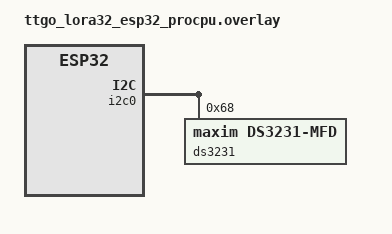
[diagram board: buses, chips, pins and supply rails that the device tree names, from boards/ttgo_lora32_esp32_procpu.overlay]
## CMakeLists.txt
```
# SPDX-FileCopyrightText: 2026 Henrique Freire <hfreire10@hotmail.com>

# SPDX-License-Identifier: MIT

cmake_minimum_required(VERSION 3.20.0)

list(APPEND EXTRA_ZEPHYR_MODULES ${CMAKE_CURRENT_LIST_DIR}/../../modules/wifi_sensing)

find_package(Zephyr REQUIRED HINTS $ENV{ZEPHYR_BASE})
project(relay)

target_sources(app PRIVATE
  src/lora.c
  src/main.c
  src/storage.c
  src/time.c
  src/wifi.c
)
target_include_directories(app PRIVATE include)
```

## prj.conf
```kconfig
# SPDX-FileCopyrightText: 2026 Henrique Freire <hfreire10@hotmail.com>

# SPDX-License-Identifier: MIT

# Debug
CONFIG_LOG=y
CONFIG_THREAD_NAME=y
CONFIG_STACK_CANARIES=y
CONFIG_STACK_SENTINEL=y

# General
CONFIG_SPI=y
CONFIG_GPIO=y
CONFIG_FLASH=y
CONFIG_EVENTS=y
CONFIG_FLASH_MAP=y
CONFIG_STREAM_FLASH=y
CONFIG_LOG_DEFAULT_LEVEL=3
CONFIG_IDLE_STACK_SIZE=256
CONFIG_MAIN_STACK_SIZE=2048
CONFIG_HEAP_MEM_POOL_SIZE=102400
CONFIG_SYSTEM_WORKQUEUE_STACK_SIZE=1676

# RTC
CONFIG_I2C=y
CONFIG_RTC=y

# Networking
CONFIG_NET_UDP=y
CONFIG_NET_IPV4=y
CONFIG_POSIX_API=y
CONFIG_NETWORKING=y
CONFIG_NET_SOCKETS=y
CONFIG_NET_TX_STACK_SIZE=4096
CONFIG_NET_RX_STACK_SIZE=4096
CONFIG_NET_SOCKETS_SERVICE_STACK_SIZE=3596

## LoRa
CONFIG_LORA=y

## DHCP
CONFIG_NET_DHCPV4_SERVER=y
CONFIG_NET_DHCPV4_SERVER_ADDR_COUNT=8
CONFIG_NET_CONFIG_SETTINGS=y
CONFIG_NET_CONFIG_AUTO_INIT=y
CONFIG_NET_CONFIG_MY_IPV4_GW="192.168.5.1"
CONFIG_NET_CONFIG_MY_IPV4_ADDR="192.168.5.1"
CONFIG_NET_CONFIG_MY_IPV4_NETMASK="255.255.255.0"

## WiFi
CONFIG_WIFI=y
CONFIG_WIFI_ESP32=y
CONFIG_NET_L2_WIFI_MGMT=y
CONFIG_ESP32_WIFI_IRAM_OPT=y
CONFIG_ESP32_WIFI_RX_IRAM_OPT=y
CONFIG_ESP32_WIFI_DYNAMIC_RX_BUFFER_NUM=48
#default value in seconds
CONFIG_WIFI_MGMT_AP_STA_INACTIVITY_TIMEOUT=300

# SD Card
CONFIG_DISK_ACCESS=y
CONFIG_FILE_SYSTEM=y
CONFIG_FS_FATFS_LFN=y
CONFIG_FAT_FILESYSTEM_ELM=y
```

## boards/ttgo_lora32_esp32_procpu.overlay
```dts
/ {
    aliases {
        rtc = &ds3231_rtc;
    };

    chosen {
        zephyr,rtc = &ds3231_rtc;
    };
};

&i2c0 {
    status = "okay";

    ds3231: ds3231@68 {
        compatible = "maxim,ds3231-mfd";
        reg = <0x68>;
        status = "okay";

        ds3231_rtc: rtc {
            compatible = "maxim,ds3231-rtc";
            status = "okay";
            alarms-count = <2>;
        };
    };
};
```

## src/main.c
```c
// SPDX-FileCopyrightText: 2026 Henrique Freire <hfreire10@hotmail.com>

// SPDX-License-Identifier: MIT

#include <zephyr/device.h>
#include <zephyr/kernel.h>
#include <zephyr/logging/log.h>
#include <zephyr/net/wifi_mgmt.h>

#include "relay.h"

#define NET_EVENTS                                                                                 \
  (NET_EVENT_WIFI_AP_ENABLE_RESULT | NET_EVENT_WIFI_AP_STA_CONNECTED |                             \
   NET_EVENT_WIFI_AP_STA_DISCONNECTED)

LOG_MODULE_REGISTER(relay);

static struct net_mgmt_event_callback s_net_cb;

K_EVENT_DEFINE(g_ap_events);

K_FIFO_DEFINE(g_lora_fifo);
K_FIFO_DEFINE(g_storage_fifo);
K_MEM_SLAB_DEFINE_TYPE(g_csi_slab, csi_item_t, (MAX_MSGS / MAX_MSG_PAYLOAD));

static void net_event_handler(struct net_mgmt_event_callback *cb, uint64_t mgmt_event,
                              struct net_if *iface) {
  switch (mgmt_event) {
  case NET_EVENT_WIFI_AP_ENABLE_RESULT: {
    k_event_post(&g_ap_events, NET_READY);
    LOG_INF("AP Mode is enabled. Waiting for station to connect");
    break;
  }
  case NET_EVENT_WIFI_AP_STA_CONNECTED: {
    LOG_INF("Station connected");
    break;
  }
  case NET_EVENT_WIFI_AP_STA_DISCONNECTED: {
    LOG_INF("Station disconnected");
    break;
  }
  }
}

int main(void) {
  LOG_INF("Starting LoRa <-> Wi-Fi gateway");

  rtc_sync();

  net_mgmt_init_event_callback(&s_net_cb, net_event_handler, NET_EVENTS);
  net_mgmt_add_event_callback(&s_net_cb);

  create_storage_thread();
  ap_init();

  return 0;
}
```

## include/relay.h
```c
// SPDX-FileCopyrightText: 2026 Henrique Freire <hfreire10@hotmail.com>
//
// SPDX-License-Identifier: MIT

#pragma once

#include <inttypes.h>

#include <zephyr/kernel.h>
#include <zephyr/sys/atomic.h>

#include <wifi_sensing.h>

#define LORA_NODE DT_ALIAS(lora0)

typedef struct {
  void *fifo_reserved;
  atomic_t refs;
  uint8_t data[MSG_HDR_SIZE + MAX_MSG_PAYLOAD * CSI_DATA_SIZE];
} csi_item_t;

extern struct k_event g_ap_events;
extern struct k_fifo g_lora_fifo;
extern struct k_fifo g_storage_fifo;
extern struct k_mem_slab g_csi_slab;

void create_storage_thread(void);
void ap_init(void);
void sd_card_init(void);
int rtc_sync(void);
uint64_t get_timestamp(void);
int get_current_utc(char *buf, size_t buf_size);
```

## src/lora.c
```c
// SPDX-FileCopyrightText: 2026 Henrique Freire <hfreire10@hotmail.com>

// SPDX-License-Identifier: MIT

#include <inttypes.h>

#include <zephyr/drivers/lora.h>
#include <zephyr/kernel.h>
#include <zephyr/logging/log.h>

#include <lora.h>
#include <wifi_sensing.h>

#include "relay.h"

#define LORA_TX_PRIORITY   4
#define LORA_TX_STACK_SIZE 1024

BUILD_ASSERT(DT_NODE_HAS_STATUS_OKAY(LORA_NODE), "No default LoRa radio specified in DT");

LOG_MODULE_DECLARE(relay);

const static struct device *s_lora_dev = DEVICE_DT_GET(LORA_NODE);

static void lora_tx_thread(void *p1, void *p2, void *p3);

K_THREAD_DEFINE(lora_tx_tid, LORA_TX_STACK_SIZE, lora_tx_thread, NULL, NULL, NULL, LORA_TX_PRIORITY,
                0, 0);

static void lora_tx_thread(void *p1 __unused, void *p2 __unused, void *p3 __unused) {
  csi_item_t *item;
  lora_data_t data = {
      .hdr =
          {
              .magic = LORA_MAGIC,
              .id    = LORA_DATA_ID,
          },
  };

  lora_init(s_lora_dev, true);

  while (true) {
    item = (csi_item_t *)k_fifo_get(&g_lora_fifo, K_FOREVER);

    const msg_t *const msg = (msg_t *)item->data;

    switch (msg->hdr.id) {
    case MSG_ID_SENSORS: {
      const sensor_data_t *const pkt = (sensor_data_t *)&msg->payload.sensor;

      memcpy((uint8_t *)&data.payload.sensor, (uint8_t *)pkt, SENSOR_DATA_SIZE);
      data.hdr.type      = MSG_ID_SENSORS;
      data.timestamp_sec = get_timestamp();

      int ret = lora_send(s_lora_dev, (uint8_t *)&data, LORA_HDR_SIZE + SENSOR_DATA_SIZE);
      if (ret < 0) {
        LOG_ERR("LoRa sensor send failed");
      }
      break;
    }
    case MSG_ID_CSI: {
      const csi_data_t *const pkt = (csi_data_t *)&msg->payload.csi;
      for (size_t i = 0; i < pkt->count; i++) {
        memcpy((uint8_t *)&data.payload.csi, (uint8_t *)&pkt->data[i], CSI_DATA_SIZE);
        data.hdr.type      = MSG_ID_CSI;
        data.timestamp_sec = get_timestamp();

        int ret = lora_send(s_lora_dev, (uint8_t *)&data, LORA_HDR_SIZE + CSI_DATA_SIZE);
        if (ret < 0) {
          LOG_ERR("LoRa CSI send failed");
        } else {
          LOG_INF("LoRa CSI sent");
        }
      }
      break;
    }
    default: {
      LOG_WRN("Unrecognized message received");
      break;
    }
    }

    if (atomic_dec(&item->refs) == 1) {
      k_mem_slab_free(&g_csi_slab, (void *)item);
    }
  }
}
```

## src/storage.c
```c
// SPDX-FileCopyrightText: 2026 Henrique Freire <hfreire10@hotmail.com>
//
// SPDX-License-Identifier: MIT

#include <zephyr/kernel.h>
#include <zephyr/logging/log.h>
#include <zephyr/storage/disk_access.h>

#include <ff.h>

#include <wifi_sensing.h>

#include "relay.h"

#define STORAGE_PRIORITY   5
#define STORAGE_STACK_SIZE 4096

#define DISK_DRIVE_NAME "SD"
#define DISK_MOUNT_PT   "/" DISK_DRIVE_NAME ":"

typedef struct {
  bool is_open;
  uint32_t key;
  struct fs_file_t file;
} file_node_t;

LOG_MODULE_DECLARE(relay);

static FATFS s_fat_fs;
static struct fs_mount_t s_mp = {
    .type      = FS_FATFS,
    .fs_data   = &s_fat_fs,
    .mnt_point = DISK_MOUNT_PT,
};

static void storage_thread(void *p1, void *p2, void *p3);

static struct k_thread s_storage_thread;

struct z_thread_stack_element __attribute__((section(".bss")))
__aligned(ARCH_THREAD_STACK_OBJ_ALIGN(ARCH_THREAD_STACK_SIZE_ADJUST((STORAGE_STACK_SIZE) +
                                                                    K_THREAD_STACK_RESERVED)))
    storage_stack[K_THREAD_STACK_LEN(STORAGE_STACK_SIZE)];

void create_storage_thread(void) {
  k_thread_create(&s_storage_thread, storage_stack, K_THREAD_STACK_SIZEOF(storage_stack),
                  storage_thread, NULL, NULL, NULL, STORAGE_PRIORITY, 0, K_NO_WAIT);
}

void sd_card_init(void) {
  static const char *disk_pdrv = DISK_DRIVE_NAME;

  if (disk_access_ioctl(disk_pdrv, DISK_IOCTL_CTRL_INIT, NULL)) {
    LOG_ERR("Failed to init " DISK_DRIVE_NAME);
    return;
  }

  if (fs_mount(&s_mp)) {
    LOG_ERR(DISK_DRIVE_NAME " mount failed");
    return;
  }

  LOG_INF(DISK_DRIVE_NAME " mounted successfully");
}

static void storage_thread(void *p1 __unused, void *p2 __unused, void *p3 __unused) {
  csi_item_t *pkt;
  // Lower half corresponds to CSI files, while the upper half corresponds to reference sensors
  file_node_t open_files[2 * MAX_DEVICES] = {};

  sd_card_init();

  while (true) {
    void *write_data;
    size_t write_size, start_idx, end_idx;
    const uint8_t (*mac_addr)[MAC_ADDR_LEN];

    pkt = k_fifo_get(&g_storage_fifo, K_FOREVER);

    const msg_t *const msg = (const msg_t *)pkt->data;
    switch (msg->hdr.id) {
    case MSG_ID_CSI: {
      start_idx  = 0;
      end_idx    = MAX_DEVICES;
      write_data = (void *)msg->payload.csi.data;
      write_size = msg->payload.csi.count * CSI_DATA_SIZE;
      mac_addr   = &msg->payload.csi.data[0].mac;
      break;
    }
    case MSG_ID_SENSORS: {
      start_idx  = MAX_DEVICES;
      end_idx    = 2 * MAX_DEVICES;
      write_data = (void *)&msg->payload.sensor;
      write_size = SENSOR_DATA_SIZE;
      mac_addr   = &msg->payload.sensor.mac;
      break;
    }
    default: {
      LOG_WRN("Unexpected message type");
      continue;
    }
    }

    uint32_t dev_key =
        (*mac_addr[2] << 24) | (*mac_addr[3] << 16) | (*mac_addr[4] << 8) | *mac_addr[5];

    int8_t free_idx   = -1;
    int8_t target_idx = -1;

    /* Search for an open file */
    for (size_t i = start_idx; i < end_idx; i++) {
      if (open_files[i].is_open && open_files[i].key == dev_key) {
        target_idx = i;
        break;
      }
      if (!open_files[i].is_open && free_idx == -1) {
        free_idx = i;
      }
    }

    /* Create new file (none open for the given device) */
    if (target_idx == -1) {
      if (free_idx != -1) {
        char file_path[40];

        /*
         * Filename for MAC address 01:23:45:67:89:AB
         *
         * CSI    file: 01-23-45-67-89-ab_csi.bin
         * Sensor file: 01-23-45-67-89-ab_sensor.bin
         *
         */
        snprintf(file_path, sizeof(file_path),
                 DISK_MOUNT_PT "/" MACSTR "%s"
                               ".bin",
                 MAC2STR(*mac_addr), free_idx < MAX_DEVICES ? "_csi" : "_sensor");

        fs_file_t_init(&open_files[free_idx].file);

        int err =
            fs_open(&open_files[free_idx].file, file_path, FS_O_CREATE | FS_O_APPEND | FS_O_WRITE);
        if (!err) {
          target_idx                   = free_idx;
          open_files[free_idx].key     = dev_key;
          open_files[free_idx].is_open = true;

          LOG_INF("Opened new file stream for " MACSTR " at index %d", MAC2STR(*mac_addr),
                  target_idx);
        } else {
          LOG_ERR("Failed to open file %s (%d)", file_path, err);
          continue;
        }
      } else {
        LOG_ERR("Max devices reached. Cannot open new file");
        continue;
      }
    }

    uint64_t time = get_timestamp();

    fs_write(&open_files[target_idx].file, &time, sizeof(time));
    fs_write(&open_files[target_idx].file, write_data, write_size);
    fs_sync(&open_files[target_idx].file);

    if (atomic_dec(&pkt->refs) == 1) {
      k_mem_slab_free(&g_csi_slab, (void *)pkt);
    }
  }
}
```

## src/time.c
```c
// SPDX-FileCopyrightText: 2026 Henrique Freire <hfreire10@hotmail.com>
//
// SPDX-License-Identifier: MIT

#include <errno.h>
#include <time.h>

#include <zephyr/device.h>
#include <zephyr/drivers/rtc.h>
#include <zephyr/kernel.h>
#include <zephyr/logging/log.h>
#include <zephyr/sys/clock.h>
#include <zephyr/sys/timeutil.h>

#include "relay.h"

#define RTC_SYNC_INTERVAL K_HOURS(24)

LOG_MODULE_DECLARE(relay);

static const struct device *s_rtc_dev = DEVICE_DT_GET(DT_ALIAS(rtc));

static int current_utc(struct tm *utc);
static int rtc_sync_system_time(void);
static void rtc_sync_work_handler(struct k_work *work);

K_WORK_DELAYABLE_DEFINE(rtc_sync_work, rtc_sync_work_handler);

int rtc_sync(void) {
  int ret = rtc_sync_system_time();

  if (ret < 0) {
    LOG_ERR("Initial RTC synchronization failed: %d", ret);
    return ret;
  }

  return k_work_reschedule(&rtc_sync_work, RTC_SYNC_INTERVAL);
}

uint64_t get_timestamp(void) {
  struct timespec ts;

  if (sys_clock_gettime(SYS_CLOCK_REALTIME, &ts) < 0) {
    return 0;
  } else {
    return (uint64_t)ts.tv_sec;
  }
}

int get_current_utc(char *buf, size_t buf_size) {
  int ret;
  struct tm utc;

  // YYYY-MM-DDThh:mm:ss => at least 20 bytes (with null terminator)
  if (!buf || buf_size < 20) {
    return -EINVAL;
  }

  ret = current_utc(&utc);
  if (ret < 0) {
    return ret;
  }

  return snprintf(buf, buf_size, "%04d-%02d-%02dT%02d:%02d:%02d", utc.tm_year + 1900,
                  utc.tm_mon + 1, utc.tm_mday, utc.tm_hour, utc.tm_min, utc.tm_sec);
}

static int current_utc(struct tm *utc) {
  struct timespec now;

  if (!utc) {
    return -EINVAL;
  }

  int ret = sys_clock_gettime(SYS_CLOCK_REALTIME, &now);
  if (ret < 0) {
    return ret;
  }

  if (gmtime_r(&now.tv_sec, utc) == NULL) {
    return -EOVERFLOW;
  }

  return 0;
}

static int rtc_sync_system_time(void) {
  int ret;
  time_t epoch;
  struct tm *tm;
  struct timespec ts;
  struct rtc_time rtc_time;

  if (!device_is_ready(s_rtc_dev)) {
    return -ENODEV;
  }

  ret = rtc_get_time(s_rtc_dev, &rtc_time);

  if (ret < 0) {
    return ret;
  }

  /* DS3231 stores years from 2000 through 2099.
   * struct rtc_time.tm_year is years since 1900
   */
  if (rtc_time.tm_year < 100 || rtc_time.tm_year > 199) {
    return -EINVAL;
  }

  tm    = rtc_time_to_tm(&rtc_time);
  epoch = timeutil_timegm(tm);

  if (epoch == (time_t)-1) {
    return -ERANGE;
  }

  ts.tv_sec  = epoch;
  ts.tv_nsec = 0; // DS3231 has one-second time resolution

  return sys_clock_settime(SYS_CLOCK_REALTIME, &ts);
}

static void rtc_sync_work_handler(struct k_work *work) {
  int ret = rtc_sync_system_time();

  if (ret < 0) {
    LOG_WRN("RTC synchronization failed: %d", ret);
  }

  // Schedule the next synchronization
  (void)k_work_reschedule(&rtc_sync_work, RTC_SYNC_INTERVAL);
}
```

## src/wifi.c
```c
// SPDX-FileCopyrightText: 2026 Henrique Freire <hfreire10@hotmail.com>

// SPDX-License-Identifier: MIT

#define WIFI_PRIORITY    3
#define PROBE_PRIORITY   3
#define WIFI_STACK_SIZE  1024
#define PROBE_STACK_SIZE 1024

#include <zephyr/device.h>
#include <zephyr/kernel.h>
#include <zephyr/logging/log.h>
#include <zephyr/net/dhcpv4_server.h>
#include <zephyr/net/socket.h>
#include <zephyr/net/wifi_mgmt.h>
#include <zephyr/posix/sys/socket.h>
#include <zephyr/posix/unistd.h>
#include <zephyr/sys/atomic.h>

#include <esp_err.h>
#include <esp_wifi.h>

#include <wifi_sensing.h>

#include "relay.h"

#define WIFI_RX_PRIORITY   3
#define WIFI_TX_PRIORITY   3
#define WIFI_RX_STACK_SIZE 1024
#define WIFI_TX_STACK_SIZE 1024

BUILD_ASSERT(sizeof(CONFIG_WIFI_SSID) > 1,
             "CONFIG_WIFI_SSID is empty. Please set it in conf file.");

BUILD_ASSERT(sizeof(CONFIG_WIFI_SSID) <= 32,
             "CONFIG_WIFI_SSID is too long (> 32). Please shorten it in conf file.");

BUILD_ASSERT(sizeof(CONFIG_WIFI_PSK) > 1, "CONFIG_WIFI_PSK is empty. Please set it in conf file.");

LOG_MODULE_DECLARE(relay);

static struct net_if *s_iface;

static void wifi_rx_thread(void *p1, void *p2, void *p3);
static void wifi_tx_thread(void *p1, void *p2, void *p3);

K_THREAD_DEFINE(wifi_rx_tid, WIFI_RX_STACK_SIZE, wifi_rx_thread, NULL, NULL, NULL, WIFI_RX_PRIORITY,
                0, 0);
K_THREAD_DEFINE(wifi_tx_tid, WIFI_TX_STACK_SIZE, wifi_tx_thread, NULL, NULL, NULL, WIFI_TX_PRIORITY,
                0, 0);

void ap_init(void) {
  s_iface = net_if_get_wifi_sap();

  /*wifi_tx_rate_config_t phy_config = {
    .phymode = WIFI_PHY_MODE_11G,
    .rate    = WIFI_PHY_RATE_6M,
  };*/

  if (esp_wifi_config_80211_tx_rate(WIFI_IF_AP, WIFI_PHY_RATE_6M) != ESP_OK) {
    LOG_ERR("Failed to set phy rate for probing frames");
    return;
  }

  struct wifi_connect_req_params ap_config = {
      .ssid        = CONFIG_WIFI_SSID,
      .ssid_length = strlen(CONFIG_WIFI_SSID),
      .psk         = CONFIG_WIFI_PSK,
      .psk_length  = strlen(CONFIG_WIFI_PSK),
      .channel     = CONFIG_WIFI_CHANNEL,
      .security    = WIFI_SECURITY_TYPE_PSK,
  };
  int ret = net_mgmt(NET_REQUEST_WIFI_AP_ENABLE, s_iface, &ap_config, sizeof(ap_config));
  if (ret) {
    LOG_ERR("NET_REQUEST_WIFI_AP_ENABLE failed, err: %d", ret);
    return;
  }

  struct in_addr pool_start;
  net_addr_pton(AF_INET, "192.168.5.2", &pool_start);

  if (net_dhcpv4_server_start(s_iface, &pool_start) < 0) {
    LOG_ERR("Failed to start DHCP server");
  } else {
    LOG_INF("DHCP server started successfully");
  }
}

static void wifi_rx_thread(void *p1 __unused, void *p2 __unused, void *p3 __unused) {
  int sock;

  struct sockaddr_in bind_addr = {
      .sin_family      = AF_INET,
      .sin_port        = htons(CONFIG_UDP_PORT),
      .sin_addr.s_addr = htonl(INADDR_ANY),
  };

  sock = socket(AF_INET, SOCK_DGRAM, IPPROTO_UDP);
  if (sock < 0) {
    LOG_ERR("Failed to create UDP socket");
    return;
  }

  if (bind(sock, (struct sockaddr *)&bind_addr, sizeof(bind_addr)) < 0) {
    LOG_ERR("Failed to bind UDP socket");
    return;
  }

  LOG_INF("UDP server listening on port %d", CONFIG_UDP_PORT);

  while (true) {
    struct sockaddr_in client_addr;
    socklen_t client_addr_len = sizeof(client_addr);

    // Allocate shared memory slab for received CSI data
    csi_item_t *item;
    k_mem_slab_alloc(&g_csi_slab, (void **)&item, K_FOREVER);

    ssize_t len = recvfrom(sock, item->data, sizeof(item->data), 0, (struct sockaddr *)&client_addr,
                           &client_addr_len);

    if (len < 0) {
      LOG_ERR("Wi-Fi recv failed (%zd)", len);
      k_mem_slab_free(&g_csi_slab, (void *)item);
      continue;
    }

    const uint16_t id = ((msg_t *)item->data)->hdr.id;
    if (id != MSG_ID_CSI && id != MSG_ID_SENSORS) {
      LOG_WRN("Unexpected message type");
      k_mem_slab_free(&g_csi_slab, (void *)item);
      continue;
    }

    LOG_INF("Received %zd bytes from STA", len);
    LOG_HEXDUMP_INF(((msg_t *)item->data)->payload.csi.data, CSI_DATA_SIZE, "CSI data: ");

    // Send shared allocated memory to both storage and lora threads (reference counting)
    atomic_set(&item->refs, 2);

    k_fifo_put(&g_storage_fifo, item);
    k_fifo_put(&g_lora_fifo, item);
  }
}

static void wifi_tx_thread(void *p1 __unused, void *p2 __unused, void *p3 __unused) {
  static uint8_t msg[sizeof(wifi_action_frame_t) + MSG_HDR_SIZE + PROBE_DATA_SIZE];

  k_event_wait(&g_ap_events, NET_READY, false, K_FOREVER);
  const struct net_linkaddr *link_addr = net_if_get_link_addr(s_iface);

  wifi_action_frame_t *const frame = (wifi_action_frame_t *)&msg;

  *frame = (wifi_action_frame_t){
      .frame_ctrl.subtype = ACTION_FRAME_SUBTYPE, // Action frame
      .category           = 127,                  // Vendor Specific
      .action             = 1,                    // Arbitrary Action Detail
  };
  memcpy(frame->da, g_broadcast_addr, MAC_ADDR_LEN);
  memcpy(frame->sa, link_addr->addr, MAC_ADDR_LEN);
  memcpy(frame->bss, link_addr->addr, MAC_ADDR_LEN);

  msg_hdr_t *const hdr = (msg_hdr_t *)frame->body;
  hdr->id              = MSG_ID_PROBE;

  probe_data_t *const probe = (probe_data_t *)&((msg_t *)frame->body)->payload.probe;

  while (true) {
    int64_t next_wake_time = k_uptime_get();

    for (size_t i = 0; i < SENSING_WINDOW_SIZE; i++) {
      next_wake_time += SENSING_PERIOD_MSEC;

      esp_err_t ret = esp_wifi_80211_tx(WIFI_IF_AP, msg, sizeof(msg), true);

      if (ret != ESP_OK) {
        LOG_ERR("Failed to send probe frame: %d", ret);
      } else {
        LOG_INF("Probe frame sent");
      }

      // Advance sequence for next measerument request
      probe->seq++;
      k_sleep(K_TIMEOUT_ABS_MS(next_wake_time));
    }

    k_sleep(K_MSEC(1000 * SENSING_INTERVAL_SEC - SENSING_WINDOW_SIZE * SENSING_PERIOD_MSEC));
  }
}
```
